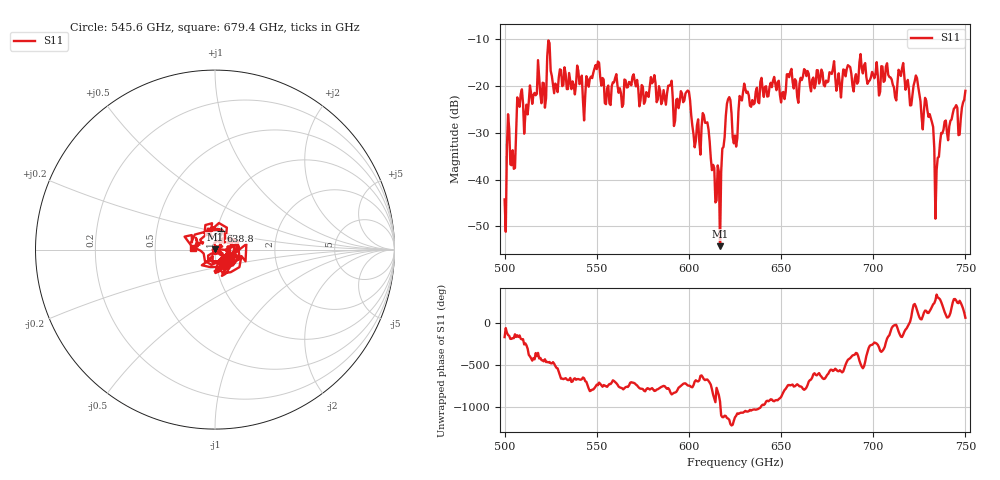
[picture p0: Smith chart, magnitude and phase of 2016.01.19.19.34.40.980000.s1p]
!Created with skrf (http://scikit-rf.org).
# GHz S RI R 50.0
!freq ReS11 ImS11
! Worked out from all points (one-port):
!   401 points, 500 GHz to 750 GHz, reference 50 ohm
!   lowest |S11| = -54.2 dB at 616.9 GHz (marker M1), VSWR 1.00, Z = 49.8 + j0.108 ohm
!   |S11| at or under -10 dB: start of sweep to end of sweep
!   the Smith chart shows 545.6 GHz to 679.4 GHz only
!   S11 on the Smith chart (normalised r, x): 545.6 GHz: 1.09, -0.19; 638.8 GHz: 1.05, +0.22; 679.4 GHz: 0.78, +0.02
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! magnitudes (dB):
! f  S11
! 500 GHz  -44.2
! 502.5 GHz  -29.2
! 504.4 GHz  -33.7
! 508.1 GHz  -24.4
! 521.2 GHz  -19.4
! 524.4 GHz  -10.8
! 527.5 GHz  -19.5
! 531.2 GHz  -20.0
! 545.6 GHz  -20.1
! 562.5 GHz  -20.5
! 580.6 GHz  -19.0
! 593.8 GHz  -22.7
! 603.1 GHz  -33.1
! 608.8 GHz  -27.8
! 615.6 GHz  -37.0
! 616.9 GHz  -54.2
! 621.2 GHz  -22.8
! 625 GHz  -30.6
! 628.8 GHz  -23.1
! 638.8 GHz  -19.1
! 656.2 GHz  -19.1
! 679.4 GHz  -18.1
! 687.5 GHz  -16.0
! 718.8 GHz  -18.7
! 729.4 GHz  -25.2
! 734.4 GHz  -38.0
! 738.1 GHz  -29.3
! 750 GHz  -21.0
